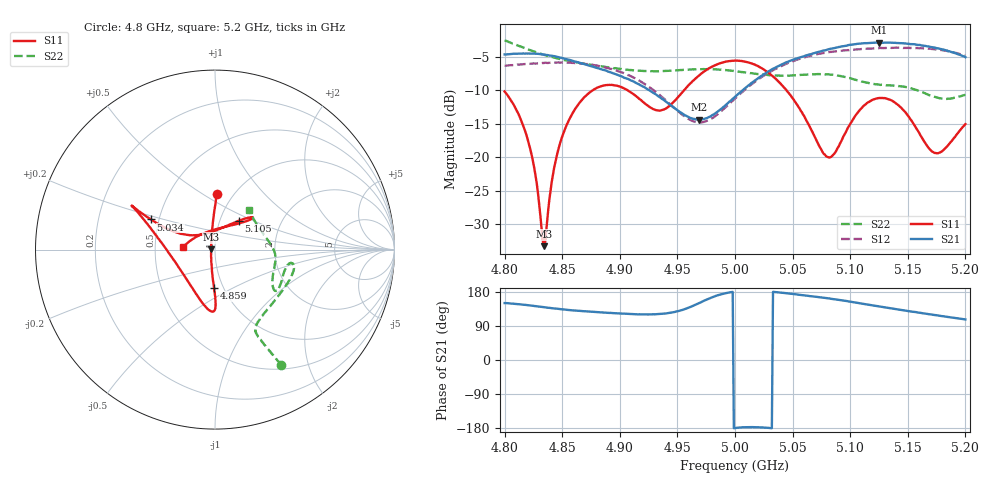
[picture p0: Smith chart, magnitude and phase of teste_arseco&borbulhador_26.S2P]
! Network Analyzer HP8722D
! Hewlett-Packard
! Data name: Linha & Wilkinson
! Saver's name: Rodrigo Anjos
! Comments: Teste da utilização de aquisição
! continua pelo VNA HP8722D
! Time and date: 15/4/2025 15:51
!  Frequency  S11  S21  S12  S22
# HZ  S  MA R 50
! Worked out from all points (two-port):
!   401 points, 4.8 GHz to 5.2 GHz, reference 50 ohm
!   highest |S21| = -2.92 dB at 5.125 GHz (marker M1); lowest = -14.4 dB at 4.969 GHz (marker M2)
!   |S21| within 3 dB of the highest: start of sweep to 4.865 GHz; 5.044 GHz to end of sweep
!   lowest |S11| = -33.2 dB at 4.834 GHz (marker M3), VSWR 1.04, Z = 47.9 + j0.2 ohm
!   |S11| at or under -10 dB: start of sweep to 4.877 GHz; 4.907 GHz to 4.956 GHz (49.47 MHz wide, 1 % of centre); 5.045 GHz to end of sweep
!   |S22| runs from -11.3 to -2.6 dB; largest |S21 - S12| = 1.3
!   S11 on the Smith chart (normalised r, x): 4.8 GHz: 0.84, +0.57; 4.859 GHz: 0.90, -0.40; 5.034 GHz: 0.45, +0.18; 5.105 GHz: 1.23, +0.41; 5.2 GHz: 0.70, +0.02
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4.8e9  0.3088 88.2  0.5824 150.2  0.4809 -111.4  0.7404 -60.1
4.812e9  0.2103 91.3  0.5909 147.3  0.4888 -111.1  0.6759 -61.1
4.821e9  0.1273 96.5  0.5925 144.3  0.4971 -110.6  0.632 -61.9
4.827e9  0.07174 105.3  0.5896 142.2  0.4988 -109.9  0.6062 -62.3
4.834e9  0.02177 174.5  0.5811 139.5  0.5027 -109.6  0.579 -62.9
4.836e9  0.02767 -142.8  0.5766 138.7  0.505 -109.5  0.5724 -63.1
4.84e9  0.05733 -111.1  0.571 137.2  0.5056 -109.1  0.5605 -63.3
4.845e9  0.1 -100.5  0.5603 135.4  0.506 -108.8  0.5461 -63.4
4.859e9  0.2128 -91.5  0.5226 131.0  0.5041 -108.6  0.5157 -63.7
4.867e9  0.2662 -89.6  0.4986 129.0  0.4994 -108.7  0.5012 -63.4
4.895e9  0.344 -93.8  0.4196 123.6  0.4469 -111.7  0.459 -56.9
4.934e9  0.2231 -146.2  0.2821 121.2  0.2943 -116.3  0.437 -35.5
4.969e9  0.4077 158.9  0.1901 150.5  0.1815 -85.3  0.4529 -16.9
5e9  0.5243 152.2  0.2817 -179.5  0.2743 -49.8  0.4373 -10.0
5.034e9  0.3938 154.8  0.4593 179.5  0.4498 -43.6  0.4063 -15.4
5.067e9  0.1556 149.0  0.5896 168.2  0.5757 -46.6  0.4139 -29.3
5.083e9  0.1003 101.9  0.642 161.6  0.6091 -49.7  0.4116 -33.8
5.105e9  0.2067 50.6  0.6953 151.5  0.6341 -54.3  0.3766 -31.7
5.125e9  0.2761 40.8  0.7147 141.3  0.649 -60.4  0.3477 -19.2
5.134e9  0.269 39.9  0.714 137.0  0.6515 -63.3  0.3436 -12.6
5.173e9  0.1078 100.3  0.657 118.8  0.6364 -77.1  0.2818 18.9
5.2e9  0.1765 174.5  0.5557 107.1  0.5714 -86.3  0.2915 49.9
